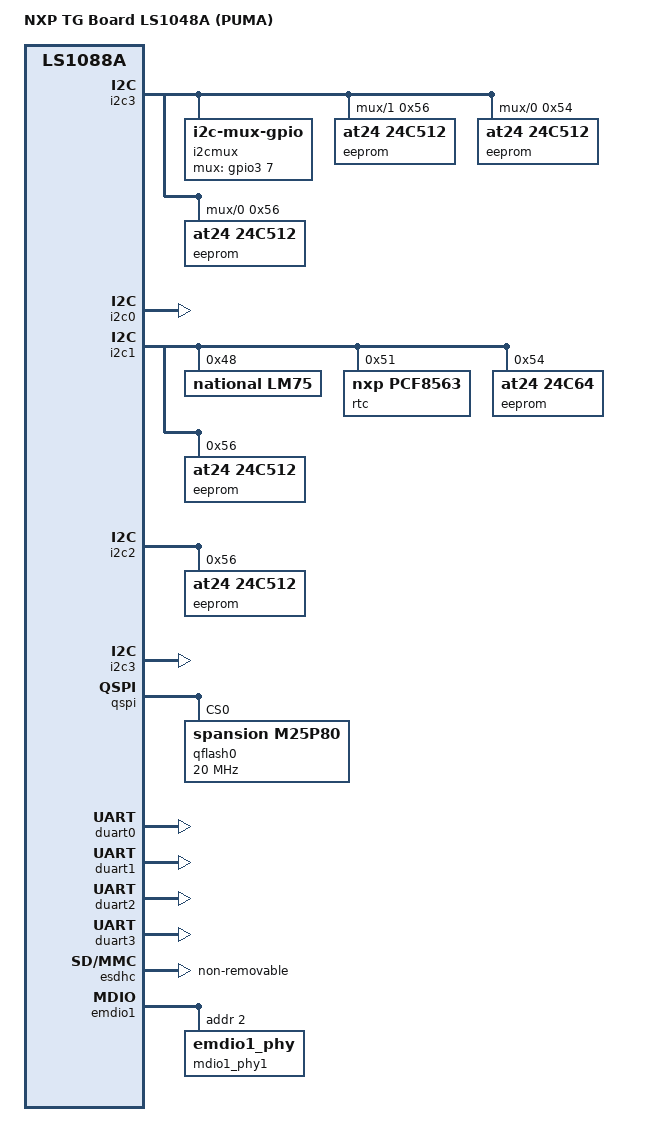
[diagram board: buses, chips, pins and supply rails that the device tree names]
/*
 * Device Tree file for FB LS1048A PUMA Board.
 */

/dts-v1/;

#include <dt-bindings/gpio/gpio.h>
#include "fsl-ls1048a.dtsi"

/ {
	model = "NXP TG Board LS1048A (PUMA)";
	compatible = "fsl,ls1088a-rdb", "fsl,ls1088a";

	chosen {
		bootargs = "iommu.passthrough=1 default_hugepagesz=2m hugepagesz=2m hugepages=512 pcie_aspm=off cma=512M crashkernel=32M@3G isolcpus=2,3 firmware_class.path=/data/firmware/wil6210 ";
		eeprom = "/sys/bus/nvmem/devices/1-00540/nvmem" ;
		bb1_eeprom = "/sys/bus/i2c/devices/1-0056/eeprom";
		bb2_eeprom = "/sys/bus/i2c/devices/2-0056/eeprom";
		bb3_eeprom = "/sys/bus/i2c/devices/4-0056/eeprom";
		bb4_eeprom = "/sys/bus/i2c/devices/5-0056/eeprom";
	};

	i2cmux {
		compatible = "i2c-mux-gpio";
		#address-cells = <1>;
		#size-cells = <0>;

		mux-gpios = <&gpio3 7 GPIO_ACTIVE_HIGH>;
		i2c-parent = <&i2c3>;

		i2c@1 {
			reg = <1>;
			#address-cells = <1>;
			#size-cells = <0>;

			eeprom@56 {
				compatible = "at24,24c512";
				reg = <0x56>;
			};
		};

		i2c@0 {
			reg = <0>;
			#address-cells = <1>;
			#size-cells = <0>;

			eeprom@54 {
				compatible = "at24,24c512";
				reg = <0x54>;
			};

			eeprom@56 {
				compatible = "at24,24c512";
				reg = <0x56>;
			};
		};
	};
};

&i2c0 {
	status = "okay";
};

&i2c1 {
	status = "okay";

	lm75: lm75@48 {
		compatible = "national,lm75";
		reg = <0x48>;
	};

	rtc@51 {
		compatible = "nxp,pcf8563";
		reg = <0x51>;
	};

	eeprom@54 {
		compatible = "at24,24c64";
		reg = <0x54>;
	};

	eeprom@56 {
		compatible = "at24,24c512";
		reg = <0x56>;
	};
};

&i2c2 {
	status = "okay";

	eeprom@56 {
		compatible = "at24,24c512";
		reg = <0x56>;
	};
};

&i2c3 {
	status = "okay";
};

&qspi {
	status = "okay";
	qflash0: s25fs512s@0 {
		compatible = "spansion,m25p80";
		#address-cells = <1>;
		#size-cells = <1>;
		spi-max-frequency = <20000000>;
		spi-rx-bus-width = <1>;
		spi-tx-bus-width = <1>;
		reg = <0>;
	};
};

&ifc {
	status = "disabled";
};

&duart0 {
	status = "okay";
};

&duart1 {
	status = "okay";
};

&duart2 {
	status = "okay";
};

&duart3 {
	status = "okay";
};

&esdhc {
	status = "okay";
	non-removable;
};

&emdio1 {
	/* RealTek RTL8211FSI PHY
	 * PHY_AD[2:0] = 010: PHY Addr = 0b00010
	 * CFG_MODE[2:0]=011: SGMII <=> UTP
	 * CFG_LDO[1:0] = 10 : RGMII IO LDO voltage selection (1.8V)
	 * RXDLY = 0: No Delay
	 */
	mdio1_phy1: emdio1_phy@1 {
		reg = <0x2>;
		phy-connection-type = "sgmii";
	};
};

/* DPMAC connections to external PHYs
 * based on LS1088A RM RevC - $24.1.2 SerDes Options
 */
/* DPMAC2 is SFP+, fixed link */
&dpmac7 {
	phy-handle = <&mdio1_phy1>;
};
